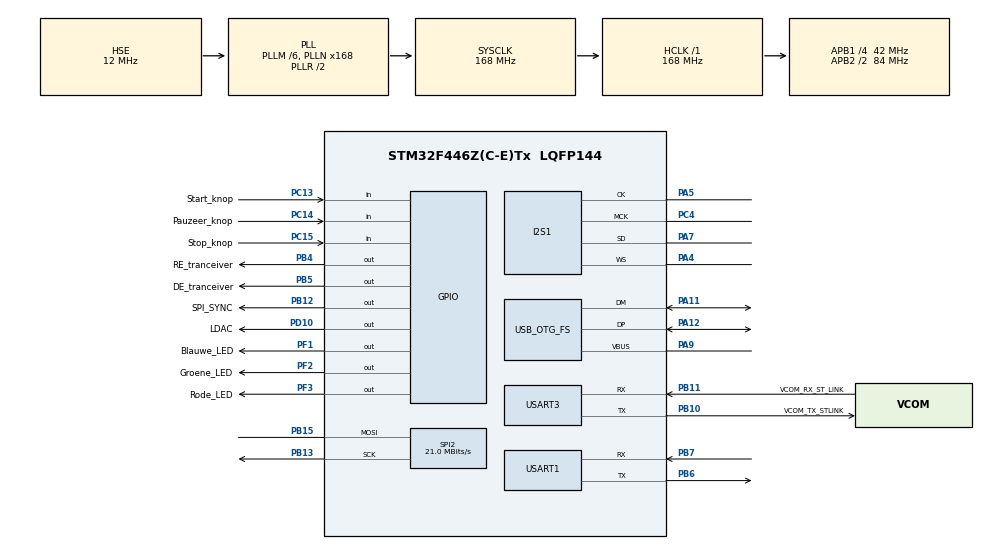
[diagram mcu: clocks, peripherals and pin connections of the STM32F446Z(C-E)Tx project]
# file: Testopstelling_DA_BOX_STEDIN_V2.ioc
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FREERTOS.Tasks01=defaultTask,24,512,StartDefaultTask,Default,NULL,Dynamic,NULL,NULL;KnopTASK,24,128,StartKnopThread,Default,NULL,Dynamic,NULL,NULL;LedTASK,24,128,StartLEDThread,Default,NULL,Dynamic,NULL,NULL;Active_TASK,8,128,Display_ACTIVE_scenario,Default,NULL,Dynamic,NULL,NULL
FREERTOS.configUSE_NEWLIB_REENTRANT=1
I2S1.ErrorAudioFreq=1.72 %
I2S1.FullDuplexMode=I2S_FULLDUPLEXMODE_DISABLE
I2S1.Instance=SPI$Index
I2S1.RealAudioFreq=8.138 KHz
I2S1.VirtualMode=I2S_MODE_MASTER
Mcu.Family=STM32F4
Mcu.Name=STM32F446Z(C-E)Tx
Mcu.Package=LQFP144
NVIC.OTG_FS_IRQn=true\:5\:0\:false\:false\:true\:true\:false\:true\:true
NVIC.PriorityGroup=NVIC_PRIORITYGROUP_4
NVIC.TIM2_IRQn=true\:5\:0\:false\:false\:true\:true\:true\:true\:true
PA11.Mode=Device_Only
PA11.Signal=USB_OTG_FS_DM
PA12.Mode=Device_Only
PA12.Signal=USB_OTG_FS_DP
PA13.Mode=Serial_Wire
PA13.Signal=SYS_JTMS-SWDIO
PA14.Mode=Serial_Wire
PA14.Signal=SYS_JTCK-SWCLK
PA4.Mode=Half_Duplex_Master
PA4.Signal=I2S1_WS
PA5.Mode=Half_Duplex_Master
PA5.Signal=I2S1_CK
PA7.Mode=Half_Duplex_Master
PA7.Signal=I2S1_SD
PA9.Mode=Activate_VBUS
PA9.Signal=USB_OTG_FS_VBUS
PB10.GPIO_Label=VCOM_TX_STLINK
PB10.Mode=Asynchronous
PB10.Signal=USART3_TX
PB11.GPIO_Label=VCOM_RX_ST_LINK
PB11.Mode=Asynchronous
PB11.Signal=USART3_RX
PB12.GPIO_Label=SPI_SYNC
PB12.Signal=GPIO_Output
PB13.Mode=Simplex_Bidirectional_Master
PB13.Signal=SPI2_SCK
PB15.Mode=Simplex_Bidirectional_Master
PB15.Signal=SPI2_MOSI
PB4.GPIO_Label=RE_tranceiver
PB4.Signal=GPIO_Output
PB5.GPIO_Label=DE_tranceiver
PB5.Signal=GPIO_Output
PB6.Mode=Asynchronous
PB6.Signal=USART1_TX
PB7.Mode=Asynchronous
PB7.Signal=USART1_RX
PC13.GPIO_Label=Start_knop
PC13.GPIO_PuPd=GPIO_PULLUP
PC13.Signal=GPIO_Input
PC14-OSC32_IN.GPIO_Label=Pauzeer_knop
PC14-OSC32_IN.GPIO_PuPd=GPIO_PULLUP
PC14-OSC32_IN.Signal=GPIO_Input
PC15-OSC32_OUT.GPIO_Label=Stop_knop
PC15-OSC32_OUT.GPIO_PuPd=GPIO_PULLUP
PC15-OSC32_OUT.Signal=GPIO_Input
PC4.Mode=Master_Clock_Activated
PC4.Signal=I2S1_MCK
PD10.GPIO_Label=LDAC
PD10.Signal=GPIO_Output
PF1.GPIO_Label=Blauwe_LED
PF1.Signal=GPIO_Output
PF2.GPIO_Label=Groene_LED
PF2.Signal=GPIO_Output
PF3.GPIO_Label=Rode_LED
PF3.Signal=GPIO_Output
PH0-OSC_IN.Mode=HSE-External-Oscillator
PH0-OSC_IN.Signal=RCC_OSC_IN
PH1-OSC_OUT.Mode=HSE-External-Oscillator
PH1-OSC_OUT.Signal=RCC_OSC_OUT
ProjectManager.HeapSize=0x200
ProjectManager.StackSize=0x400
ProjectManager.TargetToolchain=STM32CubeIDE
RCC.AHBFreq_Value=168000000
RCC.APB1CLKDivider=RCC_HCLK_DIV4
RCC.APB1Freq_Value=42000000
RCC.APB1TimFreq_Value=84000000
RCC.APB2CLKDivider=RCC_HCLK_DIV2
RCC.APB2Freq_Value=84000000
RCC.APB2TimFreq_Value=168000000
RCC.CortexFreq_Value=168000000
RCC.HCLKFreq_Value=168000000
RCC.HSE_VALUE=12000000
RCC.PLLI2SM=6
RCC.PLLI2SN=50
RCC.PLLM=6
RCC.PLLN=168
RCC.PLLQ=7
RCC.SYSCLKFreq_VALUE=168000000
RCC.SYSCLKSource=RCC_SYSCLKSOURCE_PLLRCLK
RCC.USBFreq_Value=48000000
RCC.VCOOutputFreq_Value=336000000
SPI2.BaudRatePrescaler=SPI_BAUDRATEPRESCALER_2
SPI2.CLKPolarity=SPI_POLARITY_HIGH
SPI2.CalculateBaudRate=21.0 MBits/s
SPI2.Direction=SPI_DIRECTION_1LINE
SPI2.Mode=SPI_MODE_MASTER
SPI2.VirtualType=VM_MASTER
TIM2.Period=1749
USART1.VirtualMode=VM_ASYNC
USART3.VirtualMode=VM_ASYNC
USB_DEVICE.CLASS_NAME_FS=CDC
USB_DEVICE.PRODUCT_STRING_CDC_FS=YOUNES STM32
USB_DEVICE.VirtualMode-CDC_FS=Cdc
USB_DEVICE.VirtualModeFS=Cdc_FS
USB_OTG_FS.VirtualMode=Device_Only
VP_FREERTOS_VS_CMSIS_V2.Mode=CMSIS_V2
VP_TIM2_VS_ClockSourceINT.Mode=Internal
VP_USB_DEVICE_VS_USB_DEVICE_CDC_FS.Mode=CDC_FS
board=custom

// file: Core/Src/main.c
/* USER CODE BEGIN Header */
/**
  ******************************************************************************
  * @file           : main.c
  * @brief          : Main program body
  ******************************************************************************
  * @attention
  *
  * Copyright (c) 2024 STMicroelectronics.
  * All rights reserved.
  *
  * This software is licensed under terms that can be found in the LICENSE file
  * in the root directory of this software component.
  * If no LICENSE file comes with this software, it is provided AS-IS.
  *
  ******************************************************************************
  */
/* USER CODE END Header */
#include "main.h"
#include "cmsis_os.h"
#include "usb_device.h"

/* USER CODE BEGIN Includes */
#include <string.h>
#include <stdio.h>
#include <stdbool.h>

#include <math.h>
#include <stdint.h>
#include <stdlib.h>
#include "stm32f4xx_hal.h"
/* USER CODE END Includes */

/* USER CODE BEGIN PTD */
typedef enum {
	STATUS_IDLE,
    STATUS_WACHTEN_OP_INSTELLINGEN,
    STATUS_GEREED,
    STATUS_TEST_GESTART,
    STATUS_TEST_GEPAUZEERD,
	STATUS_TEST_GESTOPT,
    STATUS_TEST_VOLTOOID
} TestStatus;
/* USER CODE END PTD */

/* USER CODE BEGIN PD */
#define BLAUWE_LED_PIN GPIO_PIN_1
#define BLAUWE_LED_PORT GPIOF

#define GROENE_LED_PIN GPIO_PIN_2
#define GROENE_LED_PORT GPIOF

#define RODE_LED_PIN GPIO_PIN_3
#define RODE_LED_PORT GPIOF

#define START_KNOP_PIN GPIO_PIN_13
#define START_KNOP_PORT GPIOC

#define PAUZEER_KNOP_PIN GPIO_PIN_14
#define PAUZEER_KNOP_PORT GPIOC

#define STOP_KNOP_PIN GPIO_PIN_15
#define STOP_KNOP_PORT GPIOC

#define GPIO_PORT_VBUS GPIOA   // De GPIO-poort voor VBUS
#define GPIO_PIN_VBUS  GPIO_PIN_9   // De specifieke pin

#define BUFFER_SIZE 1024   // Data buffer voor USB
// De data die wordt doorgestuurd naar de GUI voor de status updates
#define WAITING_FOR_SETTINGS "WACHT_OP_INSTELLINGEN"
#define READY_STATUS "GEREED"
#define TEST_RUNNING "BEZIG_MET_TEST"
#define TEST_PAUSED "GEPAUZEERD"
#define TEST_COMPLETED "VOLTOOID"
#define TEST_STOPPED "GESTOPT"

#define SPI_TIMEOUT 1000
#define DAC8564_SEQUENTIANALY_WRITE_UPDATE 0x10
#define VREF 2.5
#define PI 3.14159265
#define SAMPLE_RATE 48000
#define FREQUENCY 50   //Grondsignaal frequentie
#define NUM_SAMPLES (SAMPLE_RATE / FREQUENCY)
#define PHASE_SHIFT_120_DEG (2.0 * PI / 3.0)  // 120-degree phase shift
#define PHASE_SHIFT_240_DEG (4.0 * PI / 3.0)  // 240-degree phase shift

/* USER CODE END PD */

I2S_HandleTypeDef hi2s1;

SPI_HandleTypeDef hspi2;

TIM_HandleTypeDef htim2;

UART_HandleTypeDef huart1;
UART_HandleTypeDef huart3;

/* Definitions for defaultTask */
osThreadId_t defaultTaskHandle;
const osThreadAttr_t defaultTask_attributes = {
  .name = "defaultTask",
  .stack_size = 512 * 4,
  .priority = (osPriority_t) osPriorityNormal,
};
/* Definitions for KnopTASK */
osThreadId_t KnopTASKHandle;
const osThreadAttr_t KnopTASK_attributes = {
  .name = "KnopTASK",
  .stack_size = 128 * 4,
  .priority = (osPriority_t) osPriorityNormal,
};
/* Definitions for LedTASK */
osThreadId_t LedTASKHandle;
const osThreadAttr_t LedTASK_attributes = {
  .name = "LedTASK",
  .stack_size = 128 * 4,
  .priority = (osPriority_t) osPriorityNormal,
};
/* Definitions for Active_TASK */
osThreadId_t Active_TASKHandle;
const osThreadAttr_t Active_TASK_attributes = {
  .name = "Active_TASK",
  .stack_size = 128 * 4,
  .priority = (osPriority_t) osPriorityLow,
};
/* USER CODE BEGIN PV */

char receivedData[BUFFER_SIZE];  // Buffer om ontvangen gegevens van PC op te slaan
uint32_t receivedLength = 0;  // Houd de lengte van de ontvangen data bij

// Variabelen voor het berekenen van het gewenste simulatiesignaal.
volatile uint16_t sample_index = 0;
volatile uint32_t seconds_elapsed = 0;
volatile uint8_t dac_update_flag = 0;
volatile uint32_t Timer_counter = 0;
volatile int current_scenario = 1;

// variabelen om het gewenste simulatie signaal te berekenen.
float AMPLITUDE;

float HARMONIC_3, HARMONIC_5, HARMONIC_7, HARMONIC_9, HARMONIC_11, HARMONIC_13;

uint16_t sine_wave_A_scenario[6][NUM_SAMPLES];
uint16_t sine_wave_B_scenario[6][NUM_SAMPLES];
uint16_t sine_wave_C_scenario[6][NUM_SAMPLES];

uint16_t* current_sine_wave_A;
uint16_t* current_sine_wave_B;
uint16_t* current_sine_wave_C;

float stroom_s1 = 0.0;
float stroom_s2 = 0.0;
float stroom_s3 = 0.0;

// Globale variabelen voor THD scenario's
float thd_s1_rms = 0.0, thd_s2_rms = 0.0, thd_s3_rms = 0.0;
int thd_s1_3h = 0, thd_s1_5h = 0, thd_s1_7h = 0, thd_s1_9h = 0,
    thd_s1_11h = 0, thd_s1_13h = 0;

int thd_s2_3h = 0, thd_s2_5h = 0, thd_s2_7h = 0, thd_s2_9h = 0,
    thd_s2_11h = 0, thd_s2_13h = 0;

int thd_s3_3h = 0, thd_s3_5h = 0, thd_s3_7h = 0, thd_s3_9h = 0,
    thd_s3_11h = 0, thd_s3_13h = 0;

// De initiële status bij het aansluiten van de voeding
TestStatus huidig_status = STATUS_IDLE;

volatile bool usb_busy = false;  // Vlag om aan te geven of USB-communicatie bezig i

/* USER CODE END PV */

void SystemClock_Config(void);
static void MX_GPIO_Init(void);
static void MX_USART1_UART_Init(void);
static void MX_USART3_UART_Init(void);
static void MX_TIM2_Init(void);
static void MX_I2S1_Init(void);
static void MX_SPI2_Init(void);
void StartDefaultTask(void *argument);
void KnopThread(void *argument);
void Status_Thread(void *argument);
void Display_ACTIVE_scenario(void *argument);

/* USER CODE BEGIN 0 */

/*  Functies voor DAC */
/* DAC CODE BEGIN*/
void calculate_three_phase_sine_wave_samples(uint16_t* wave_A, uint16_t* wave_B, uint16_t* wave_C) {
    for (int i = 0; i < NUM_SAMPLES; i++) {
        double t = (double)i / SAMPLE_RATE;

        // Phase A with harmonic distortion
        double sample_A = AMPLITUDE * sin(2 * PI * FREQUENCY * t);
        sample_A += HARMONIC_3 * AMPLITUDE * sin(2 * PI * 3 * FREQUENCY * t);
        sample_A += HARMONIC_5 * AMPLITUDE * sin(2 * PI * 5 * FREQUENCY * t);
        sample_A += HARMONIC_7 * AMPLITUDE * sin(2 * PI * 7 * FREQUENCY * t);
        sample_A += HARMONIC_9 * AMPLITUDE * sin(2 * PI * 9 * FREQUENCY * t);
        sample_A += HARMONIC_11 * AMPLITUDE * sin(2 * PI * 11 * FREQUENCY * t);
        sample_A += HARMONIC_13 * AMPLITUDE * sin(2 * PI * 13 * FREQUENCY * t);

        if (sample_A >= 2.5)
        {
        	sample_A= 2.5;
        }
        else if (sample_A <= -2.5)
		{
			sample_A= -2.5;
		}

        wave_A[i] = (uint16_t)((65536 / (2 * VREF)) * (sample_A + VREF));

        // Phase B with harmonic distortion (120 degrees shifted)

        double sample_B = AMPLITUDE * sin(2 * PI * FREQUENCY * t + PHASE_SHIFT_120_DEG);
        sample_B += HARMONIC_3 * AMPLITUDE * sin(2 * PI * 3 * FREQUENCY * t + PHASE_SHIFT_120_DEG);
        sample_B += HARMONIC_5 * AMPLITUDE * sin(2 * PI * 5 * FREQUENCY * t + PHASE_SHIFT_120_DEG);
        sample_B += HARMONIC_7 * AMPLITUDE * sin(2 * PI * 7 * FREQUENCY * t + PHASE_SHIFT_120_DEG);
        sample_B += HARMONIC_9 * AMPLITUDE * sin(2 * PI * 9 * FREQUENCY * t + PHASE_SHIFT_120_DEG);
        sample_B += HARMONIC_11 * AMPLITUDE * sin(2 * PI * 11 * FREQUENCY * t + PHASE_SHIFT_120_DEG);
        sample_B += HARMONIC_13 * AMPLITUDE * sin(2 * PI * 13 * FREQUENCY * t + PHASE_SHIFT_120_DEG);

        if (sample_B >= 2.5)
        {
        	sample_B= 2.5;
        }
        else if (sample_B <= -2.5)
		{
			sample_B= -2.5;
		}

        wave_B[i] = (uint16_t)((65536 / (2 * VREF)) * (sample_B + VREF));

        // Phase C with harmonic distortion (240 degrees shifted)
        double sample_C = AMPLITUDE * sin(2 * PI * FREQUENCY * t + PHASE_SHIFT_240_DEG);
        sample_C += HARMONIC_3 * AMPLITUDE * sin(2 * PI * 3 * FREQUENCY * t + PHASE_SHIFT_240_DEG);
        sample_C += HARMONIC_5 * AMPLITUDE * sin(2 * PI * 5 * FREQUENCY * t + PHASE_SHIFT_240_DEG);
        sample_C += HARMONIC_7 * AMPLITUDE * sin(2 * PI * 7 * FREQUENCY * t + PHASE_SHIFT_240_DEG);
        sample_C += HARMONIC_9 * AMPLITUDE * sin(2 * PI * 9 * FREQUENCY * t + PHASE_SHIFT_240_DEG);
        sample_C += HARMONIC_11 * AMPLITUDE * sin(2 * PI * 11 * FREQUENCY * t + PHASE_SHIFT_240_DEG);
        sample_C += HARMONIC_13 * AMPLITUDE * sin(2 * PI * 13 * FREQUENCY * t + PHASE_SHIFT_240_DEG);

        if (sample_C >= 2.5)
        {
        	sample_C= 2.5;
        }
        else if (sample_C <= -2.5)
		{
			sample_C= -2.5;
		}
        wave_C[i] = (uint16_t)((65536 / (2 * VREF)) * (sample_C + VREF));
    }
}

////// Function to select the test scenario and calculate its samples
void select_test_scenario(int scenario_number) {
    switch (scenario_number) {
		case 1:  // Stroom scenario 1
			AMPLITUDE = (stroom_s1 / 10000) *sqrt(2.0);
			HARMONIC_3 = 0; HARMONIC_5 = 0; HARMONIC_7 = 0; HARMONIC_9 = 0;
			HARMONIC_11 = 0; HARMONIC_13 = 0;
			calculate_three_phase_sine_wave_samples(sine_wave_A_scenario[0], sine_wave_B_scenario[0], sine_wave_C_scenario[0]);
			break;
		case 2:  // Stroom scenario 2
			AMPLITUDE = (stroom_s2 / 10000) *sqrt(2.0);
			HARMONIC_3 = 0; HARMONIC_5 = 0; HARMONIC_7 = 0; HARMONIC_9 = 0;
			HARMONIC_11 = 0; HARMONIC_13 = 0;
			calculate_three_phase_sine_wave_samples(sine_wave_A_scenario[1], sine_wave_B_scenario[1], sine_wave_C_scenario[1]);
			break;
        case 3:  // Stroom scenario 3
            AMPLITUDE = (stroom_s3 / 10000) *sqrt(2.0);
            HARMONIC_3 = 0; HARMONIC_5 = 0; HARMONIC_7 = 0; HARMONIC_9 = 0;
            HARMONIC_11 = 0; HARMONIC_13 = 0;
            calculate_three_phase_sine_wave_samples(sine_wave_A_scenario[2], sine_wave_B_scenario[2], sine_wave_C_scenario[2]);
            break;
        case 4:  // THD scenario 1
            AMPLITUDE = (thd_s1_rms / 10000) *sqrt(2.0);
            HARMONIC_3 = thd_s1_3h / 100.0;
            HARMONIC_5 = thd_s1_5h / 100.0;
            HARMONIC_7 = thd_s1_7h / 100.0;
            HARMONIC_9 = thd_s1_9h / 100.0;
            HARMONIC_11 = thd_s1_11h / 100.0;
            HARMONIC_13 = thd_s1_13h / 100.0;
            calculate_three_phase_sine_wave_samples(sine_wave_A_scenario[3], sine_wave_B_scenario[3], sine_wave_C_scenario[3]);
            break;
        case 5:  // THD scenario 2
            AMPLITUDE = (thd_s2_rms / 10000) *sqrt(2.0);
            HARMONIC_3 = thd_s2_3h / 100.0;
            HARMONIC_5 = thd_s2_5h / 100.0;
            HARMONIC_7 = thd_s2_7h / 100.0;
            HARMONIC_9 = thd_s2_9h / 100.0;
            HARMONIC_11 = thd_s2_11h / 100.0;
            HARMONIC_13 = thd_s2_13h / 100.0;
            calculate_three_phase_sine_wave_samples(sine_wave_A_scenario[4], sine_wave_B_scenario[4], sine_wave_C_scenario[4]);
            break;
        case 6:  // THD scenario 3
            AMPLITUDE = (thd_s3_rms / 10000) *sqrt(2.0);
            HARMONIC_3 = thd_s3_3h / 100.0;
            HARMONIC_5 = thd_s3_5h / 100.0;
            HARMONIC_7 = thd_s3_7h / 100.0;
            HARMONIC_9 = thd_s3_9h / 100.0;
            HARMONIC_11 = thd_s3_11h / 100.0;
            HARMONIC_13 = thd_s3_13h / 100.0;
            calculate_three_phase_sine_wave_samples(sine_wave_A_scenario[5], sine_wave_B_scenario[5], sine_wave_C_scenario[5]);
            break;
    }
}

void DAC8564_Write(uint16_t channel, uint16_t value) {
    uint8_t data[3];
    data[0] = DAC8564_SEQUENTIANALY_WRITE_UPDATE | (channel << 1);  // Set command and channel
    data[1] = (value >> 8) & 0xFF;  // MSB
    data[2] = value & 0xFF;  // LSB

    HAL_GPIO_WritePin(GPIOB, SPI_SYNC_Pin, GPIO_PIN_RESET);  // CS Low
    HAL_SPI_Transmit(&hspi2, data, 3, SPI_TIMEOUT);
    HAL_GPIO_WritePin(GPIOB, SPI_SYNC_Pin, GPIO_PIN_SET);  // CS High
}

void DAC8564_Wake_up(void) {

	uint16_t nul_volt = ((65536 / (2 * VREF)) * (0 + VREF));
	DAC8564_Write(0, nul_volt);
	DAC8564_Write(1, nul_volt);
	DAC8564_Write(2, nul_volt);

}

void HAL_TIM_PeriodElapsedCallback(TIM_HandleTypeDef *htim) {
    if (htim->Instance == TIM2) {

     if ((huidig_status == STATUS_TEST_GESTART && usb_busy == false)  || huidig_status == STATUS_TEST_GEPAUZEERD  || huidig_status == STATUS_TEST_VOLTOOID)
		{
			if (!(huidig_status == STATUS_TEST_GEPAUZEERD)) {

						Timer_counter++;
						if (Timer_counter== 48000) {
								seconds_elapsed++;
								Timer_counter=0;
								// Wissel scenario na 12 seconden
								if (seconds_elapsed >=12) {
									seconds_elapsed = 0;

				//    	             Ga door naar het volgende scenario
									current_scenario++;
									if (current_scenario > 6) {
										update_status(STATUS_TEST_VOLTOOID);
										current_scenario = 6;

									}else {

										// Wissel de actieve buffers naar de nieuwe berekende golfvormen
										current_sine_wave_A = sine_wave_A_scenario[current_scenario - 1];
										current_sine_wave_B = sine_wave_B_scenario[current_scenario - 1];
										current_sine_wave_C = sine_wave_C_scenario[current_scenario - 1];
										sample_index =0;
									}

								}

						}
				}else{

					Timer_counter=0;
				}

				DAC8564_Write(0, current_sine_wave_A[sample_index]);  // Phase A on DAC A
				DAC8564_Write(1, current_sine_wave_B[sample_index]);  // Phase B on DAC B
				DAC8564_Write(2, current_sine_wave_C[sample_index]);  // Phase C on DAC C

				// Verhoog de sample index
				sample_index = (sample_index + 1) % NUM_SAMPLES;

		}
    }
}

void SET_refference() {
    uint8_t data[3];
    data[0] = 0x01;
    data[1] = 0x10;
    data[2] = 0x00;

    HAL_GPIO_WritePin(GPIOB, SPI_SYNC_Pin, GPIO_PIN_RESET);
    HAL_SPI_Transmit(&hspi2, data, 3, SPI_TIMEOUT);
    HAL_GPIO_WritePin(GPIOB, SPI_SYNC_Pin, GPIO_PIN_SET);
}
/* DAC CODE END*/

/*  Functies voor user interface */
/* Userinterface CODE BEGIN*/
void zet_blauw_licht_aan() {
    HAL_GPIO_WritePin(BLAUWE_LED_PORT, BLAUWE_LED_PIN, GPIO_PIN_SET);
    HAL_GPIO_WritePin(GROENE_LED_PORT, GROENE_LED_PIN, GPIO_PIN_RESET);
    HAL_GPIO_WritePin(RODE_LED_PORT, RODE_LED_PIN, GPIO_PIN_RESET);
}

void zet_groen_licht_aan() {
    HAL_GPIO_WritePin(BLAUWE_LED_PORT, BLAUWE_LED_PIN, GPIO_PIN_RESET);
    HAL_GPIO_WritePin(GROENE_LED_PORT, GROENE_LED_PIN, GPIO_PIN_SET);
    HAL_GPIO_WritePin(RODE_LED_PORT, RODE_LED_PIN, GPIO_PIN_RESET);
}

void zet_rood_licht_aan() {
    HAL_GPIO_WritePin(BLAUWE_LED_PORT, BLAUWE_LED_PIN, GPIO_PIN_RESET);
    HAL_GPIO_WritePin(GROENE_LED_PORT, GROENE_LED_PIN, GPIO_PIN_RESET);
    HAL_GPIO_WritePin(RODE_LED_PORT, RODE_LED_PIN, GPIO_PIN_SET);
}

void groen_knipperend() {
	HAL_GPIO_WritePin(BLAUWE_LED_PORT, BLAUWE_LED_PIN, GPIO_PIN_RESET);
	HAL_GPIO_WritePin(RODE_LED_PORT, RODE_LED_PIN, GPIO_PIN_RESET);
	HAL_GPIO_TogglePin(GROENE_LED_PORT, GROENE_LED_PIN);

}

void blauw_knipperend() {
    HAL_GPIO_WritePin(GROENE_LED_PORT, GROENE_LED_PIN, GPIO_PIN_RESET);
    HAL_GPIO_WritePin(RODE_LED_PORT, RODE_LED_PIN, GPIO_PIN_RESET);
    HAL_GPIO_TogglePin(BLAUWE_LED_PORT, BLAUWE_LED_PIN);
}

void update_status(TestStatus nieuwe_status) {
    huidig_status = nieuwe_status;
}

/* Userinterface CODE END*/

/* USB_GUI_ CODE BEGIN*/
void send_active_scenario_to_gui(int scenario_number) {
    char scenario_message[64];
    sprintf(scenario_message, "ACTIEF_SCENARIO=%d\n", scenario_number);
    send_status_to_gui(scenario_message);  // Verstuur het scenario

}

void send_status_to_gui(char* status_message) {
    CDC_Transmit_FS((uint8_t *)status_message, strlen(status_message));

}

// Simuleer de ontvangst van instellingen en stuur statusupdates naar de GUI
void receive_settings_and_update_status(void) {
    // Status wachten op instellingen
	update_status (STATUS_WACHTEN_OP_INSTELLINGEN);

}

void CheckReceivedData(void)
{
  // Check of data is ontvangen.
  if (receivedLength > 0) {
    parse_received_data(receivedData);  // Verwerk de ontvangen gegevens
    memset(receivedData, 0, BUFFER_SIZE);  // Clear de buffer na verwerking
    receivedLength = 0;
  }
}

// Functie om de ontvangen data te parsen
void parse_received_data(char* data)
{

    sscanf(data,
           "STROOM_S1=%f;STROOM_S2=%f;STROOM_S3=%f;THD_S1_RMS=%f;THD_S1_3H=%d;THD_S1_5H=%d;"
           "THD_S1_7H=%d;THD_S1_9H=%d;THD_S1_11H=%d;THD_S1_13H=%d;"
           "THD_S2_RMS=%f;THD_S2_3H=%d;THD_S2_5H=%d;THD_S2_7H=%d;THD_S2_9H=%d;THD_S2_11H=%d;THD_S2_13H=%d;"
           "THD_S3_RMS=%f;THD_S3_3H=%d;THD_S3_5H=%d;THD_S3_7H=%d;THD_S3_9H=%d;THD_S3_11H=%d;THD_S3_13H=%d;",
           &stroom_s1, &stroom_s2, &stroom_s3,
           &thd_s1_rms, &thd_s1_3h, &thd_s1_5h, &thd_s1_7h, &thd_s1_9h, &thd_s1_11h, &thd_s1_13h,
           &thd_s2_rms, &thd_s2_3h, &thd_s2_5h, &thd_s2_7h, &thd_s2_9h, &thd_s2_11h, &thd_s2_13h,
           &thd_s3_rms, &thd_s3_3h, &thd_s3_5h, &thd_s3_7h, &thd_s3_9h, &thd_s3_11h, &thd_s3_13h);

    // Bereken alle gewenste testscenario's
    for (int i = 1; i <= 6; i++) {
        select_test_scenario(i);
    }

    // Zet het eerste scenario klaar
    current_sine_wave_A = sine_wave_A_scenario[0];
    current_sine_wave_B = sine_wave_B_scenario[0];
    current_sine_wave_C = sine_wave_C_scenario[0];
    current_scenario = 1;

    // Update status naar gereed
    update_status(STATUS_GEREED);

}
/* USB_GUI_ CODE END*/

/* USER CODE END 0 */

int main(void)
{

  /* MCU Configuration--------------------------------------------------------*/

  /* Reset of all peripherals, Initializes the Flash interface and the Systick. */
  HAL_Init();

  /* Configure the system clock */
  SystemClock_Config();

  /* Initialize all configured peripherals */
  MX_GPIO_Init();
  MX_USART1_UART_Init();
  MX_USART3_UART_Init();
  MX_TIM2_Init();
  MX_I2S1_Init();
  MX_SPI2_Init();
  /* USER CODE BEGIN 2 */

  MX_USB_DEVICE_Init();
  SET_refference();
  DAC8564_Wake_up();
  usb_busy = true;

  while (!(HAL_GPIO_ReadPin(GPIO_PORT_VBUS, GPIO_PIN_VBUS) == GPIO_PIN_SET));
  HAL_Delay (3000);
  receive_settings_and_update_status();

  HAL_GPIO_WritePin(GPIOB, SPI_SYNC_Pin, GPIO_PIN_SET);
  HAL_Delay(150);
  HAL_GPIO_WritePin(GPIOB, SPI_SYNC_Pin, GPIO_PIN_SET);
  HAL_Delay(10);

  /* USER CODE END 2 */

  /* Init scheduler */
  osKernelInitialize();

  /* Create the thread(s) */
  /* creation of defaultTask */
  defaultTaskHandle = osThreadNew(StartDefaultTask, NULL, &defaultTask_attributes);

  /* creation of KnopTASK */
  KnopTASKHandle = osThreadNew(KnopThread, NULL, &KnopTASK_attributes);

  /* creation of LedTASK */
  LedTASKHandle = osThreadNew(Status_Thread, NULL, &LedTASK_attributes);

  /* creation of Active_TASK */
  Active_TASKHandle = osThreadNew(Display_ACTIVE_scenario, NULL, &Active_TASK_attributes);

  /* Start scheduler */
  osKernelStart();
  /* We should never get here as control is now taken by the scheduler */
  /* Infinite loop */
  while (1)
  {

  }
}

void SystemClock_Config(void)
{
  RCC_OscInitTypeDef RCC_OscInitStruct = {0};
  RCC_ClkInitTypeDef RCC_ClkInitStruct = {0};

  /** Configure the main internal regulator output voltage
  */
  __HAL_RCC_PWR_CLK_ENABLE();
  __HAL_PWR_VOLTAGESCALING_CONFIG(PWR_REGULATOR_VOLTAGE_SCALE1);

  /** Initializes the RCC Oscillators according to the specified parameters
  * in the RCC_OscInitTypeDef structure.
  */
  RCC_OscInitStruct.OscillatorType = RCC_OSCILLATORTYPE_HSE;
  RCC_OscInitStruct.HSEState = RCC_HSE_ON;
  RCC_OscInitStruct.PLL.PLLState = RCC_PLL_ON;
  RCC_OscInitStruct.PLL.PLLSource = RCC_PLLSOURCE_HSE;
  RCC_OscInitStruct.PLL.PLLM = 6;
  RCC_OscInitStruct.PLL.PLLN = 168;
  RCC_OscInitStruct.PLL.PLLP = RCC_PLLP_DIV2;
  RCC_OscInitStruct.PLL.PLLQ = 7;
  RCC_OscInitStruct.PLL.PLLR = 2;
  if (HAL_RCC_OscConfig(&RCC_OscInitStruct) != HAL_OK)
  {
    Error_Handler();
  }

  /** Initializes the CPU, AHB and APB buses clocks
  */
  RCC_ClkInitStruct.ClockType = RCC_CLOCKTYPE_HCLK|RCC_CLOCKTYPE_SYSCLK
                              |RCC_CLOCKTYPE_PCLK1|RCC_CLOCKTYPE_PCLK2;
  RCC_ClkInitStruct.SYSCLKSource = RCC_SYSCLKSOURCE_PLLRCLK;
  RCC_ClkInitStruct.AHBCLKDivider = RCC_SYSCLK_DIV1;
  RCC_ClkInitStruct.APB1CLKDivider = RCC_HCLK_DIV4;
  RCC_ClkInitStruct.APB2CLKDivider = RCC_HCLK_DIV2;

  if (HAL_RCC_ClockConfig(&RCC_ClkInitStruct, FLASH_LATENCY_5) != HAL_OK)
  {
    Error_Handler();
  }
}

static void MX_I2S1_Init(void)
{

  hi2s1.Instance = SPI1;
  hi2s1.Init.Mode = I2S_MODE_MASTER_TX;
  hi2s1.Init.Standard = I2S_STANDARD_PHILIPS;
  hi2s1.Init.DataFormat = I2S_DATAFORMAT_16B;
  hi2s1.Init.MCLKOutput = I2S_MCLKOUTPUT_ENABLE;
  hi2s1.Init.AudioFreq = I2S_AUDIOFREQ_8K;
  hi2s1.Init.CPOL = I2S_CPOL_LOW;
  hi2s1.Init.ClockSource = I2S_CLOCK_PLL;
  hi2s1.Init.FullDuplexMode = I2S_FULLDUPLEXMODE_DISABLE;
  if (HAL_I2S_Init(&hi2s1) != HAL_OK)
  {
    Error_Handler();
  }

}

static void MX_SPI2_Init(void)
{

  /* SPI2 parameter configuration*/
  hspi2.Instance = SPI2;
  hspi2.Init.Mode = SPI_MODE_MASTER;
  hspi2.Init.Direction = SPI_DIRECTION_1LINE;
  hspi2.Init.DataSize = SPI_DATASIZE_8BIT;
  hspi2.Init.CLKPolarity = SPI_POLARITY_HIGH;
  hspi2.Init.CLKPhase = SPI_PHASE_1EDGE;
  hspi2.Init.NSS = SPI_NSS_SOFT;
  hspi2.Init.BaudRatePrescaler = SPI_BAUDRATEPRESCALER_2;
  hspi2.Init.FirstBit = SPI_FIRSTBIT_MSB;
  hspi2.Init.TIMode = SPI_TIMODE_DISABLE;
  hspi2.Init.CRCCalculation = SPI_CRCCALCULATION_DISABLE;
  hspi2.Init.CRCPolynomial = 10;
  if (HAL_SPI_Init(&hspi2) != HAL_OK)
  {
    Error_Handler();
  }

}

static void MX_TIM2_Init(void)
{

  TIM_ClockConfigTypeDef sClockSourceConfig = {0};
  TIM_MasterConfigTypeDef sMasterConfig = {0};

  htim2.Instance = TIM2;
  htim2.Init.Prescaler = 0;
  htim2.Init.CounterMode = TIM_COUNTERMODE_UP;
  htim2.Init.Period = 1749;
  htim2.Init.ClockDivision = TIM_CLOCKDIVISION_DIV1;
  htim2.Init.AutoReloadPreload = TIM_AUTORELOAD_PRELOAD_DISABLE;
  if (HAL_TIM_Base_Init(&htim2) != HAL_OK)
  {
    Error_Handler();
  }
  sClockSourceConfig.ClockSource = TIM_CLOCKSOURCE_INTERNAL;
  if (HAL_TIM_ConfigClockSource(&htim2, &sClockSourceConfig) != HAL_OK)
  {
    Error_Handler();
  }
  sMasterConfig.MasterOutputTrigger = TIM_TRGO_RESET;
  sMasterConfig.MasterSlaveMode = TIM_MASTERSLAVEMODE_DISABLE;
  if (HAL_TIMEx_MasterConfigSynchronization(&htim2, &sMasterConfig) != HAL_OK)
  {
    Error_Handler();
  }

}

static void MX_USART1_UART_Init(void)
{

  huart1.Instance = USART1;
  huart1.Init.BaudRate = 115200;
  huart1.Init.WordLength = UART_WORDLENGTH_8B;
  huart1.Init.StopBits = UART_STOPBITS_1;
  huart1.Init.Parity = UART_PARITY_NONE;
  huart1.Init.Mode = UART_MODE_TX_RX;
  huart1.Init.HwFlowCtl = UART_HWCONTROL_NONE;
  huart1.Init.OverSampling = UART_OVERSAMPLING_16;
  if (HAL_UART_Init(&huart1) != HAL_OK)
  {
    Error_Handler();
  }

}

static void MX_USART3_UART_Init(void)
{

  huart3.Instance = USART3;
  huart3.Init.BaudRate = 115200;
  huart3.Init.WordLength = UART_WORDLENGTH_8B;
  huart3.Init.StopBits = UART_STOPBITS_1;
  huart3.Init.Parity = UART_PARITY_NONE;
  huart3.Init.Mode = UART_MODE_TX_RX;
  huart3.Init.HwFlowCtl = UART_HWCONTROL_NONE;
  huart3.Init.OverSampling = UART_OVERSAMPLING_16;
  if (HAL_UART_Init(&huart3) != HAL_OK)
  {
    Error_Handler();
  }

}

static void MX_GPIO_Init(void)
{
  GPIO_InitTypeDef GPIO_InitStruct = {0};

  /* GPIO Ports Clock Enable */
  __HAL_RCC_GPIOC_CLK_ENABLE();
  __HAL_RCC_GPIOF_CLK_ENABLE();
  __HAL_RCC_GPIOH_CLK_ENABLE();
  __HAL_RCC_GPIOA_CLK_ENABLE();
  __HAL_RCC_GPIOB_CLK_ENABLE();
  __HAL_RCC_GPIOD_CLK_ENABLE();

  /*Configure GPIO pin Output Level */
  HAL_GPIO_WritePin(GPIOF, Blauwe_LED_Pin|Groene_LED_Pin|Rode_LED_Pin, GPIO_PIN_RESET);

  /*Configure GPIO pin Output Level */
  HAL_GPIO_WritePin(GPIOB, SPI_SYNC_Pin|RE_tranceiver_Pin|DE_tranceiver_Pin, GPIO_PIN_RESET);

  /*Configure GPIO pin Output Level */
  HAL_GPIO_WritePin(LDAC_GPIO_Port, LDAC_Pin, GPIO_PIN_RESET);

  /*Configure GPIO pins : Start_knop_Pin Pauzeer_knop_Pin Stop_knop_Pin */
  GPIO_InitStruct.Pin = Start_knop_Pin|Pauzeer_knop_Pin|Stop_knop_Pin;
  GPIO_InitStruct.Mode = GPIO_MODE_INPUT;
  GPIO_InitStruct.Pull = GPIO_PULLUP;
  HAL_GPIO_Init(GPIOC, &GPIO_InitStruct);

  /*Configure GPIO pins : Blauwe_LED_Pin Groene_LED_Pin Rode_LED_Pin */
  GPIO_InitStruct.Pin = Blauwe_LED_Pin|Groene_LED_Pin|Rode_LED_Pin;
  GPIO_InitStruct.Mode = GPIO_MODE_OUTPUT_PP;
  GPIO_InitStruct.Pull = GPIO_NOPULL;
  GPIO_InitStruct.Speed = GPIO_SPEED_FREQ_LOW;
  HAL_GPIO_Init(GPIOF, &GPIO_InitStruct);

  /*Configure GPIO pins : SPI_SYNC_Pin RE_tranceiver_Pin DE_tranceiver_Pin */
  GPIO_InitStruct.Pin = SPI_SYNC_Pin|RE_tranceiver_Pin|DE_tranceiver_Pin;
  GPIO_InitStruct.Mode = GPIO_MODE_OUTPUT_PP;
  GPIO_InitStruct.Pull = GPIO_NOPULL;
  GPIO_InitStruct.Speed = GPIO_SPEED_FREQ_LOW;
  HAL_GPIO_Init(GPIOB, &GPIO_InitStruct);

  /*Configure GPIO pin : LDAC_Pin */
  GPIO_InitStruct.Pin = LDAC_Pin;
  GPIO_InitStruct.Mode = GPIO_MODE_OUTPUT_PP;
  GPIO_InitStruct.Pull = GPIO_NOPULL;
  GPIO_InitStruct.Speed = GPIO_SPEED_FREQ_LOW;
  HAL_GPIO_Init(LDAC_GPIO_Port, &GPIO_InitStruct);

}

void StartDefaultTask(void *argument)
{
  /* init code for USB_DEVICE */

  /* USER CODE BEGIN 5 */

  /* Infinite loop */
  for(;;)
  {

    osDelay(100000);
  }
  /* USER CODE END 5 */
}

void KnopThread(void *argument)
{
  /* USER CODE BEGIN KnopThread */
  /* Infinite loop */
	for(;;) {
		if (HAL_GPIO_ReadPin(START_KNOP_PORT, START_KNOP_PIN) == GPIO_PIN_RESET) {
		update_status(STATUS_TEST_GESTART);
		} else if (HAL_GPIO_ReadPin(PAUZEER_KNOP_PORT, PAUZEER_KNOP_PIN) == GPIO_PIN_RESET) {
		update_status(STATUS_TEST_GEPAUZEERD);
		} else if (HAL_GPIO_ReadPin(STOP_KNOP_PORT, STOP_KNOP_PIN) == GPIO_PIN_RESET) {
		update_status(STATUS_TEST_GESTOPT);
		}

	   osDelay(100);

	}
  /* USER CODE END KnopThread */
}

void Status_Thread(void *argument)
{
  /* USER CODE BEGIN Status_Thread */
  TestStatus vorige_status = STATUS_IDLE;  // Houdt de vorige stat
  /* Infinite loop */
    for(;;) {
    	 if (huidig_status != vorige_status) {

    	      // Zet de vlag op true om de USB-communicatie te reserveren
    		 usb_busy = true;

    	          // De status is veranderd, voer de eenmalige acties uit
    	          switch (huidig_status) {
    	              case STATUS_WACHTEN_OP_INSTELLINGEN:
    	                  send_status_to_gui(WAITING_FOR_SETTINGS);  // Verstuur slechts één keer
    	                  break;
    	              case STATUS_GEREED:
    	                  send_status_to_gui(READY_STATUS);
    	                  zet_blauw_licht_aan();
    	                  break;
    	              case STATUS_TEST_GESTART:
    	                  send_status_to_gui(TEST_RUNNING);
    	                  zet_groen_licht_aan();  // Groene LED aan, maar niet knipperend
    	                  if (!(vorige_status ==STATUS_TEST_GEPAUZEERD)){
							  if (HAL_TIM_Base_Start_IT(&htim2) != HAL_OK) {
								  Error_Handler();
							  }
    	                  }
    	            	  usb_busy = false;
    	                  break;
    	              case STATUS_TEST_GEPAUZEERD:
    	                  send_status_to_gui(TEST_PAUSED);  // Verstuur status slechts één keer
    	                  // Knipperende actie wordt hieronder periodiek uitgevoerd
    	                  break;
    	              case STATUS_TEST_GESTOPT:
    	            	  if (HAL_TIM_Base_Stop_IT(&htim2) != HAL_OK) {
    	            	      Error_Handler();
    	            	  }
    	                  send_status_to_gui(TEST_STOPPED);
    	                  zet_rood_licht_aan();  // Rode LED aan
    	                  current_scenario = 1;
    	                  break;
    	              case STATUS_TEST_VOLTOOID:
    	                  send_status_to_gui(TEST_COMPLETED);  // Verstuur status slechts één keer
    	                  // Knipperende actie wordt hieronder periodiek uitgevoerd
    	                  break;
    	              default:
    	                  break;
    	          }

    	          // Update de vorige status na het uitvoeren van de actie
    	          vorige_status = huidig_status;

    	      }

    	      // Periodieke acties (knipperende LEDs) blijven elke 100 ms draaien, ongeacht statusverandering
    	      switch (huidig_status) {
    	          case STATUS_TEST_GEPAUZEERD:
    	              groen_knipperend();  // Groen knipperen terwijl gepauzeerd
    	              break;
    	          case STATUS_TEST_VOLTOOID:
    	              blauw_knipperend();  // Blauw knipperen als voltooid
    	              break;
    	          default:
    	              // Geen knipperende LED's in andere statussen
    	              break;
    	      }

    	      // Delay van 100 ms om knipperen te laten werken en CPU te sparen
    	      osDelay(100);
    }
  /* USER CODE END Status_Thread */
}

void Display_ACTIVE_scenario(void *argument)
{
  /* USER CODE BEGIN Display_ACTIVE_scenario */
	int vorige_scenario=0;
  /* Infinite loop */
  for(;;)
  {

	  if (huidig_status == STATUS_TEST_GESTART && usb_busy == false && !(vorige_scenario == current_scenario)) {
		  osDelay(20);
		  usb_busy = true;
		  send_active_scenario_to_gui(current_scenario);
		  usb_busy = false;
		  vorige_scenario=current_scenario;

	  }
    osDelay(100);
  }
  /* USER CODE END Display_ACTIVE_scenario */
}

void Error_Handler(void)
{
  __disable_irq();
  while (1)
  {
  }
}
